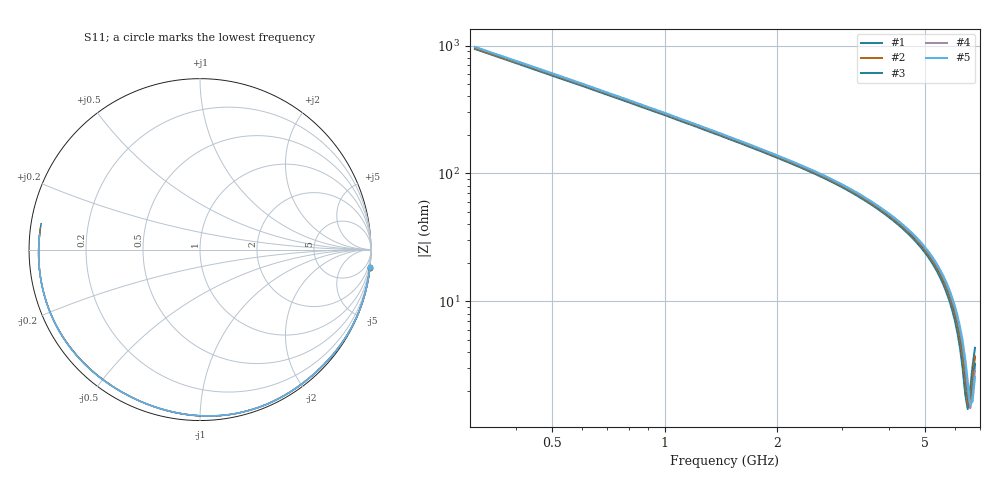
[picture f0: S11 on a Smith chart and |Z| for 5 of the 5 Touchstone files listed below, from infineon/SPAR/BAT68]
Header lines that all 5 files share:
! Infineon Technologies  Discrete & RF Semiconductors
! BAT68
! One-Port S-Parameters
# Hz  S  MA  R  50
!f  S11
!Hz  Mag  Ang
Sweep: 309.9 MHz to 6.807 GHz
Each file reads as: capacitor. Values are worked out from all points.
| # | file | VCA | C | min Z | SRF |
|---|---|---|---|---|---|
| 1 | BAT68_VCA_4V.s1p | 4 V | 545 fF | 1.43 ohm | 6.499 GHz |
| 2 | BAT68_VCA_5V.s1p | 5 V | 537 fF | 1.53 ohm | 6.55 GHz |
| 3 | BAT68_VCA_6V.s1p | 6 V | 532 fF | 1.47 ohm | 6.589 GHz |
| 4 | BAT68_VCA_7V.s1p | 7 V | 527 fF | 1.46 ohm | 6.622 GHz |
| 5 | BAT68_VCA_8V.s1p | 8 V | 523 fF | 1.55 ohm | 6.65 GHz |
